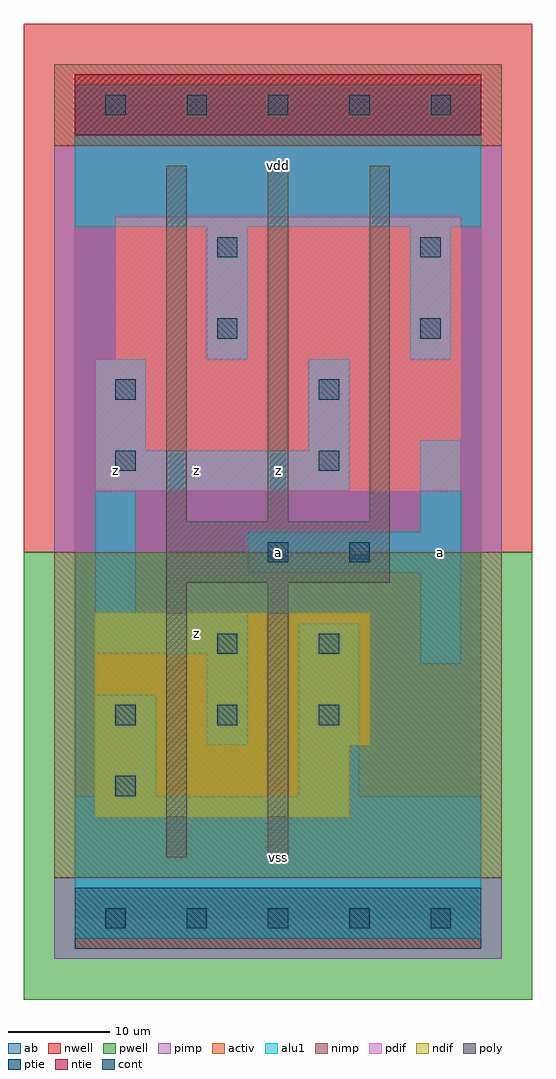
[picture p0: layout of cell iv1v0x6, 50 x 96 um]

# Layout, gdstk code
import gdstk
lib = gdstk.Library(unit=1e-6, precision=1e-09)
def R(c, l, rs):  # rectangles x0, y0, x1, y1
    for r in rs: c.add(gdstk.rectangle(r[:2], r[2:], *l))
def A(c, l, x, y, w, h, nx, ny, dx, dy):  # array of equal rectangles
    R(c, l, [(x+i*dx, y+j*dy, x+i*dx+w, y+j*dy+h) for i in range(nx) for j in range(ny)])
ndif = (3, 0)
pdif = (4, 0)
ntie = (5, 0)
ptie = (6, 0)
cont = (25, 0)
pwell = (41, 0)
nwell = (42, 0)
activ = (43, 0)
pimp = (44, 0)
nimp = (45, 0)
poly = (46, 0)
alu1 = (49, 0)
ab = (63, 0)

iv1v0x6 = lib.new_cell('iv1v0x6')
R(iv1v0x6, ndif, [(2,10,27,17), (2,17,29,30)])
R(iv1v0x6, pdif, [(2,42,38,55), (4,55,38,69)])
R(iv1v0x6, ntie, [(0,77,40,83)])
R(iv1v0x6, ptie, [(0,-3,40,3)])
A(iv1v0x6, cont, 3, -1, 2, 2, 5, 2, 8, 80)
A(iv1v0x6, cont, 4, 19, 2, 2, 3, 1, 10, 0)
R(iv1v0x6, cont, [(4,12,6,14), (14,26,16,28), (24,26,26,28), (19,35,21,37), (27,35,29,37), (4,44,6,46), (24,44,26,46), (4,51,6,53), (24,51,26,53), (14,57,16,59), (34,57,36,59), (14,65,16,67), (34,65,36,67)])
R(iv1v0x6, pwell, [(-5,-8,45,36)])
R(iv1v0x6, nwell, [(-5,36,45,88)])
R(iv1v0x6, activ, [(0,-3,40,3), (2,10,27,17), (2,17,29,30), (2,42,38,55), (4,55,38,69), (0,77,40,83)])
R(iv1v0x6, pimp, [(-2,-4,42,4), (-2,36,42,76)])
R(iv1v0x6, nimp, [(-2,4,42,36), (-2,76,42,84)])
A(iv1v0x6, poly, 9, 39, 2, 35, 3, 1, 10, 0)
R(iv1v0x6, poly, [(9,6,11,33), (19,6,21,33), (9,33,31,39)])
R(iv1v0x6, alu1, [(0,-2,40,12), (2,12,8,22), (22,12,28,29), (13,17,17,26), (34,25,38,34), (2,26,17,30), (2,30,6,42), (17,34,38,38), (34,38,38,47), (2,42,27,46), (2,46,7,55), (23,46,27,55), (13,55,17,68), (33,55,37,68), (0,68,40,82)])
R(iv1v0x6, ab, [(0,0,40,80)])
iv1v0x6.add(gdstk.Label('z', (4,44), layer=49, texttype=0))
iv1v0x6.add(gdstk.Label('z', (12,28), layer=49, texttype=0))
iv1v0x6.add(gdstk.Label('z', (12,44), layer=49, texttype=0))
iv1v0x6.add(gdstk.Label('vss', (20,6), layer=49, texttype=0))
iv1v0x6.add(gdstk.Label('a', (20,36), layer=49, texttype=0))
iv1v0x6.add(gdstk.Label('z', (20,44), layer=49, texttype=0))
iv1v0x6.add(gdstk.Label('vdd', (20,74), layer=49, texttype=0))
iv1v0x6.add(gdstk.Label('a', (36,36), layer=49, texttype=0))

lib.write_gds('iv1v0x6.gds')
